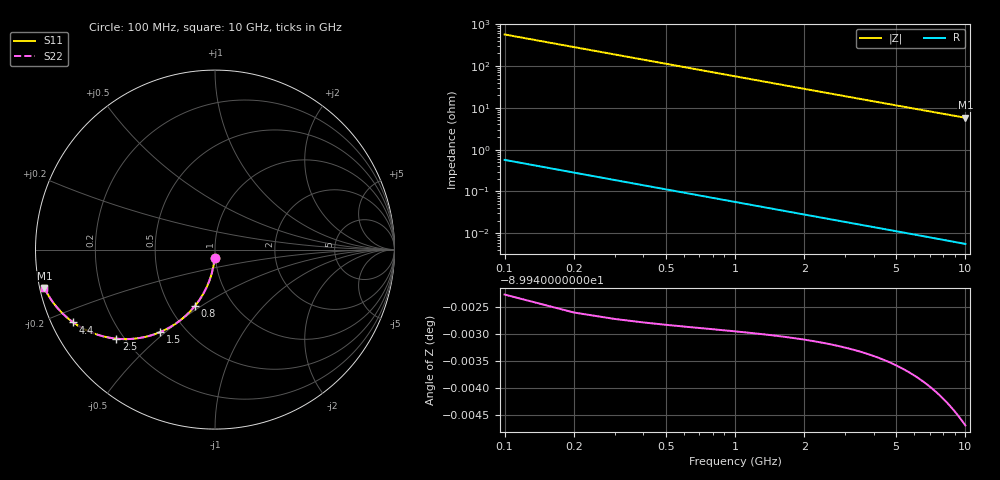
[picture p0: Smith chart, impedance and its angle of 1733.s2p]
# Hz S RI R 50.00
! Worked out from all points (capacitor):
!   100 points, 100 MHz to 10 GHz, reference 50 ohm
!   read as one part in shunt: C = 2.82 pF near 100 MHz
!   lowest |Z| = 5.78 ohm at 10 GHz (marker M1)
!   S11 on the Smith chart (normalised r, x): 100 MHz: 0.99, -0.09; 800 MHz: 0.67, -0.47; 1.5 GHz: 0.36, -0.48; 2.5 GHz: 0.17, -0.38; 4.4 GHz: 0.06, -0.24; 10 GHz: 0.01, -0.11
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1e8  -0.002 -0.0442  0.998 -0.0442  0.998 -0.0442  -0.002 -0.0442
2e8  -0.00787 -0.0878  0.9921 -0.088  0.9921 -0.088  -0.00787 -0.0878
3e8  -0.0175 -0.1305  0.9825 -0.1307  0.9825 -0.1307  -0.0175 -0.1305
4e8  -0.0306 -0.1716  0.9694 -0.1719  0.9694 -0.1719  -0.0306 -0.1716
5e8  -0.0469 -0.2109  0.9531 -0.2112  0.9531 -0.2112  -0.0469 -0.2109
6e8  -0.0661 -0.2479  0.9338 -0.2482  0.9338 -0.2482  -0.0661 -0.2479
8e8  -0.1117 -0.3142  0.8883 -0.3147  0.8883 -0.3147  -0.1117 -0.3142
9e8  -0.1372 -0.3433  0.8628 -0.3438  0.8628 -0.3438  -0.1372 -0.3433
1.1e9  -0.1917 -0.3928  0.8082 -0.3935  0.8082 -0.3935  -0.1917 -0.3928
1.3e9  -0.2487 -0.4313  0.7513 -0.4321  0.7513 -0.4321  -0.2487 -0.4313
1.5e9  -0.3056 -0.4597  0.6944 -0.4606  0.6944 -0.4606  -0.3056 -0.4597
1.8e9  -0.3875 -0.4861  0.6124 -0.4873  0.6124 -0.4873  -0.3875 -0.4861
2.1e9  -0.4623 -0.4974  0.5376 -0.4987  0.5376 -0.4987  -0.4623 -0.4974
2.5e9  -0.5488 -0.4963  0.4512 -0.4979  0.4512 -0.4979  -0.5488 -0.4963
2.9e9  -0.6203 -0.4839  0.3797 -0.4857  0.3797 -0.4857  -0.6203 -0.4839
3.4e9  -0.6914 -0.4603  0.3086 -0.4625  0.3086 -0.4625  -0.6914 -0.4603
3.9e9  -0.7463 -0.4334  0.2536 -0.4358  0.2536 -0.4358  -0.7463 -0.4334
4.4e9  -0.789 -0.4061  0.211 -0.4089  0.211 -0.4089  -0.789 -0.4061
5.1e9  -0.8337 -0.3703  0.1663 -0.3735  0.1663 -0.3735  -0.8337 -0.3703
6.7e9  -0.896 -0.3026  0.104 -0.3069  0.104 -0.3069  -0.896 -0.3026
8.4e9  -0.9311 -0.25  0.0689 -0.2555  0.0689 -0.2555  -0.9311 -0.25
1e10  -0.9503 -0.2135  0.0496 -0.2199  0.0496 -0.2199  -0.9503 -0.2135
